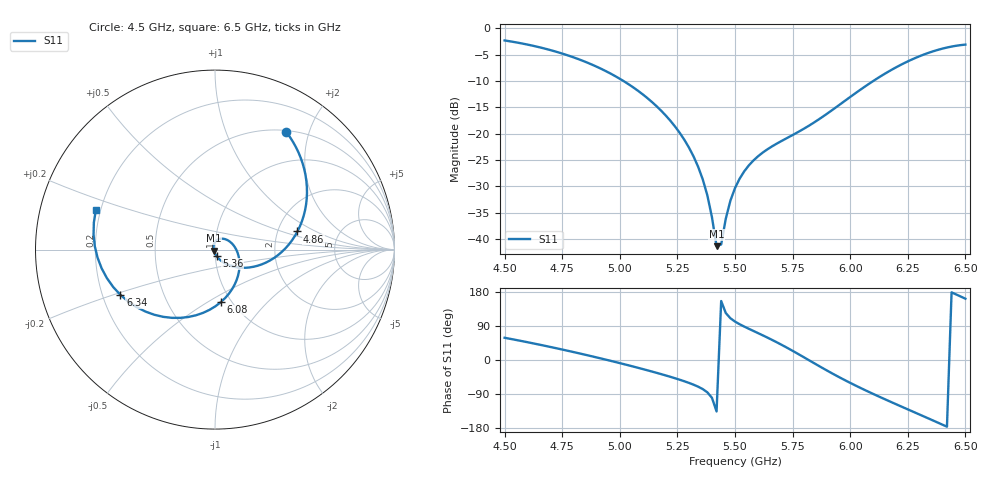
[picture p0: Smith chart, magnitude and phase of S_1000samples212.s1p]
! TOUCHSTONE file generated by CST MICROWAVE STUDIO
! Date and time: Thu Oct 27 09:43:31 2022
! Project name: L.cst
! Parameters = {Di=1.27; Epsilon_r=1.56; InnerDiameter=1.27; Length=2; Lf=10; Lg=60; OuterConductorThickness=0.2921; OuterDiameter=3.6; Wf=3; Wp=41.2; de=1.5; df=6.8; g=0.8; gx=0.788195; gy=1.50747; h=2.34; hf=1.524; px=10.4436; py=8.64916; w=9.7; wx=9.65541; wy=7.14168}
! Header version: 2018
! Port assignment regex: !\s*Touchstone port\s*([0-9]+)\s*=\s*(CST MWS port|CST DS port)\s*([0-9]+|Zmin|Zmax)\s*\(\"(.*)\"\)(\s*mode\s*([0-9]+))?.*
! Touchstone port assignment:
! Touchstone port 1 = CST MWS port 1 ("")
# GHz S DB R 50
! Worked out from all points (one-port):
!   101 points, 4.5 GHz to 6.5 GHz, reference 50 ohm
!   lowest |S11| = -41.4 dB at 5.42 GHz (marker M1), VSWR 1.02, Z = 49.4 - j0.59 ohm
!   |S11| at or under -10 dB: 5.015 GHz to 6.101 GHz (1.085 GHz wide, 19.5 % of centre)
!   S11 on the Smith chart (normalised r, x): 4.5 GHz: 0.52, +1.66; 4.86 GHz: 2.57, +0.67; 5.36 GHz: 1.01, -0.07; 6.08 GHz: 0.89, -0.57; 6.34 GHz: 0.28, -0.21; 6.5 GHz: 0.18, +0.16
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4.5  -2.32 58.6
4.64  -3.50 41.9
4.76  -4.95 26.3
4.86  -6.55 12.4
5  -9.59 -8.2
5.14  -14.02 -30.5
5.26  -19.85 -52.1
5.32  -24.32 -65.1
5.36  -28.68 -76.8
5.38  -31.72 -85.4
5.4  -35.87 -99.8
5.42  -41.36 -135.8
5.44  -41.02 155.6
5.46  -36.15 123.9
5.48  -32.72 110.2
5.5  -30.33 101.4
5.54  -27.16 88.2
5.6  -24.30 71.0
5.76  -20.03 20.8
5.9  -16.21 -28.0
6  -13.05 -60.3
6.08  -10.59 -83.9
6.18  -7.88 -111.5
6.26  -6.09 -133.0
6.34  -4.67 -154.4
6.42  -3.66 -176.0
6.46  -3.33 172.9
6.5  -3.11 161.8
